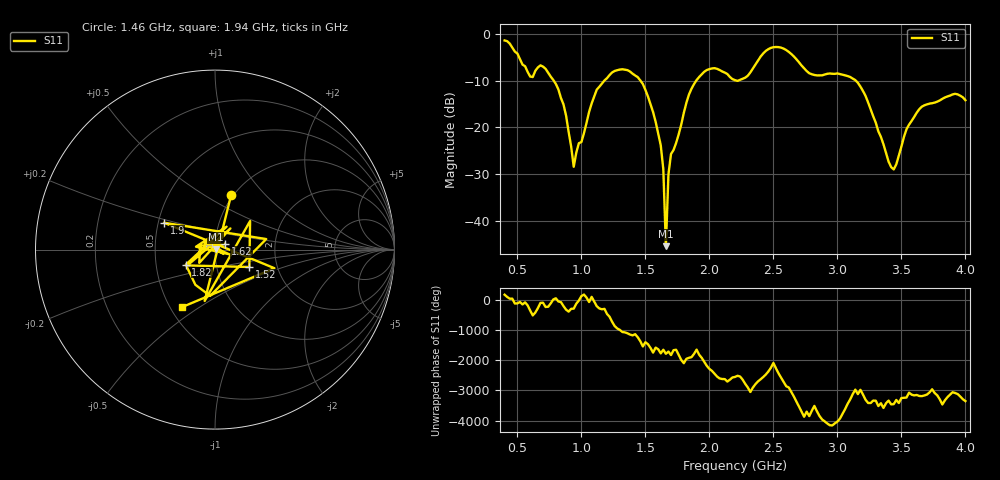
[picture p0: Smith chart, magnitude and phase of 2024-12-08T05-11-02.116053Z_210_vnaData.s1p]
!Created with skrf (http://scikit-rf.org).
# Hz S RI R 50.0
!freq ReS11 ImS11
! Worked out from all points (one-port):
!   181 points, 400 MHz to 4 GHz, reference 50 ohm
!   lowest |S11| = -45.5 dB at 1.66 GHz (marker M1), VSWR 1.01, Z = 50.5 + j0.135 ohm
!   |S11| at or under -10 dB: 784.3 MHz to 1.178 GHz (394 MHz wide, 40.2 % of centre); 1.462 GHz to 1.897 GHz (434.9 MHz wide, 25.9 % of centre); 3.145 GHz to end of sweep (the widest 3 of 4)
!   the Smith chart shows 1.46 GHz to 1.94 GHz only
!   S11 on the Smith chart (normalised r, x): 1.46 GHz: 0.98, +0.66; 1.52 GHz: 1.44, -0.29; 1.62 GHz: 1.12, +0.07; 1.82 GHz: 0.71, -0.12; 1.9 GHz: 0.54, +0.18; 1.94 GHz: 0.57, -0.43
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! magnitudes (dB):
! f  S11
! 400 MHz  -1.4
! 600 MHz  -9.1
! 720 MHz  -7.4
! 860 MHz  -15.1
! 940 MHz  -28.4
! 1.12 GHz  -11.9
! 1.3 GHz  -7.6
! 1.46 GHz  -9.9
! 1.52 GHz  -13.4
! 1.62 GHz  -23.9
! 1.64 GHz  -29.0
! 1.66 GHz  -45.5
! 1.68 GHz  -30.1
! 1.7 GHz  -25.7
! 1.76 GHz  -21.5
! 1.82 GHz  -14.7
! 1.9 GHz  -9.9
! 1.94 GHz  -8.6
! 2.2 GHz  -9.9
! 2.48 GHz  -3.0
! 2.66 GHz  -4.8
! 2.8 GHz  -8.6
! 3.1 GHz  -9.2
! 3.22 GHz  -13.3
! 3.44 GHz  -29.0
! 3.56 GHz  -19.4
! 3.68 GHz  -15.3
! 4 GHz  -14.2
